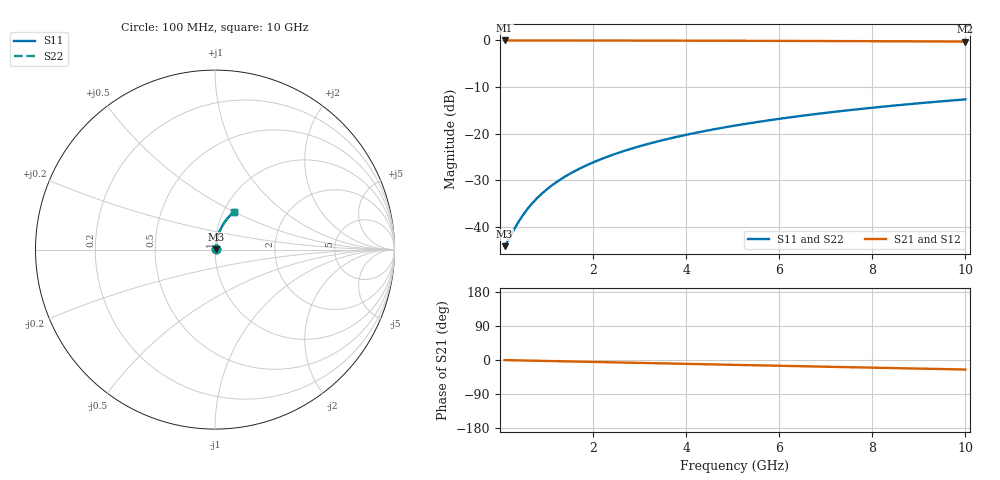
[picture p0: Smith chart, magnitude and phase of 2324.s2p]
# Hz S RI R 50.00
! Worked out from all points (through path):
!   100 points, 100 MHz to 10 GHz, reference 50 ohm
!   highest |S21| = -0.05 dB at 100 MHz (marker M1); lowest = -0.3 dB at 10 GHz (marker M2)
!   group delay of S21, straight-line fit = 6.99 ps
!   lowest |S11| = -44.1 dB at 100 MHz (marker M3), VSWR 1.01, Z = 50.6 + j0.244 ohm
!   |S11| at or under -10 dB: start of sweep to end of sweep
!   |S22| runs from -44.1 to -12.7 dB; largest |S21 - S12| = 0
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1e8  0.00572 0.00241  0.9943 -0.00443  0.9943 -0.00443  0.00572 0.00241
2e8  0.00578 0.00482  0.9942 -0.00885  0.9942 -0.00885  0.00578 0.00482
3e8  0.00587 0.00723  0.9941 -0.0133  0.9941 -0.0133  0.00587 0.00723
4e8  0.00596 0.00964  0.994 -0.0177  0.994 -0.0177  0.00596 0.00964
5e8  0.00608 0.012  0.9939 -0.0221  0.9939 -0.0221  0.00608 0.012
6e8  0.00621 0.0145  0.9937 -0.0266  0.9937 -0.0266  0.00621 0.0145
7e8  0.00637 0.0169  0.9935 -0.031  0.9935 -0.031  0.00637 0.0169
8e8  0.00654 0.0193  0.9933 -0.0354  0.9933 -0.0354  0.00654 0.0193
1e9  0.00695 0.0241  0.9928 -0.0442  0.9928 -0.0442  0.00695 0.0241
1.2e9  0.00744 0.0289  0.9922 -0.0531  0.9922 -0.0531  0.00744 0.0289
1.5e9  0.00834 0.036  0.9912 -0.0663  0.9912 -0.0663  0.00834 0.036
1.8e9  0.00942 0.0432  0.9899 -0.0795  0.9899 -0.0795  0.00942 0.0432
2.1e9  0.0107 0.0503  0.9884 -0.0926  0.9884 -0.0926  0.0107 0.0503
2.5e9  0.0127 0.0597  0.986 -0.1101  0.986 -0.1101  0.0127 0.0597
2.9e9  0.015 0.069  0.9832 -0.1275  0.9832 -0.1275  0.015 0.069
3.4e9  0.0183 0.0805  0.9792 -0.1491  0.9792 -0.1491  0.0183 0.0805
4.2e9  0.0247 0.0985  0.9716 -0.1833  0.9716 -0.1833  0.0247 0.0985
5.1e9  0.0334 0.1182  0.9612 -0.2212  0.9612 -0.2212  0.0334 0.1182
5.9e9  0.0423 0.1349  0.9504 -0.2542  0.9504 -0.2542  0.0423 0.1349
6.7e9  0.0524 0.1509  0.9383 -0.2864  0.9383 -0.2864  0.0524 0.1509
8.4e9  0.0771 0.1821  0.9081 -0.3523  0.9081 -0.3523  0.0771 0.1821
1e10  0.104 0.2077  0.875 -0.4104  0.875 -0.4104  0.104 0.2077
